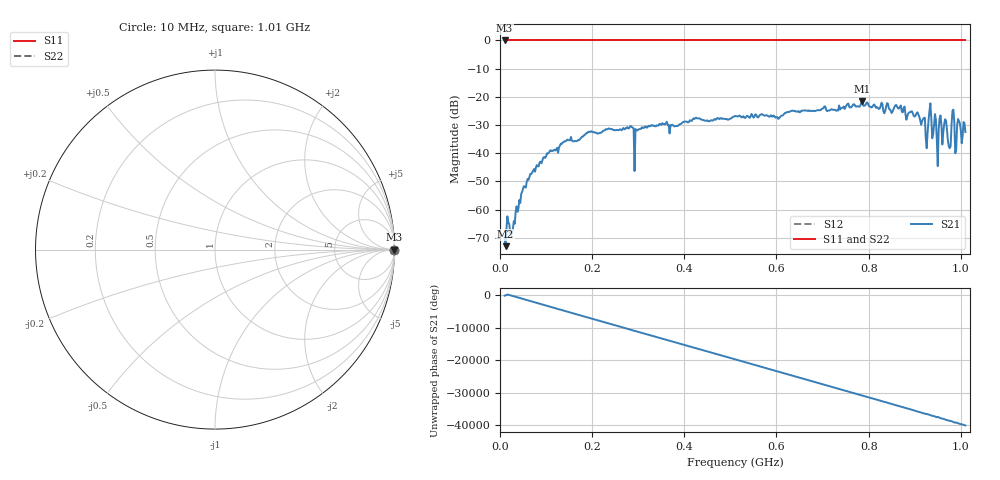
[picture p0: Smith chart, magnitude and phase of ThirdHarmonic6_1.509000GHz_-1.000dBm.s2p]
! 8/16/2025 5:46:02 PM
! C:\ANRITSUVNA\TEMP\TEMP.S2P
! CHANNEL.1
! TR.MEASUREMENT
! RAW.DATA
! RF.CORRECTION.OFF
! AVERAGING.OFF
! IF.BANDWIDTH: 5KHZ
! SWEEPTYPE:  FREQ.SWEEP(Linear)
! Reference Plane Port Info
! PORT:  PORT1  PORT2
! DISTANCE:  0  m  0  m
! TIME:  0  s  0  s
! PHASE.OFFSET:  0  deg.  0  deg.
! LOSS:  0  dB  0  dB
! REF.LOSS:  0  dB  0  dB
! REF.FREQ:  0  Hz  0  Hz
! Power Info
! POWER:  -20  dBm  -20  dBm
! EFF.POWER:  -20  dBm  -20  dBm
! SOURCE.ATTEN:  0  dB  0  dB
! TEST.ATTEN:  0  dB  0  dB
# GHZ S RI R 50.0
! FREQ.GHZ  S11RE  S11IM  S21RE  S21IM  S12RE  S12IM  S22RE  S22IM
!; PortSelection: Port_12
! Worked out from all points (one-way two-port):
!   501 points, 10 MHz to 1.01 GHz, reference 50 ohm
!   highest |S21| = -21.51 dB at 786 MHz (marker M1); lowest = -73.0 dB at 12 MHz (marker M2)
!   lowest |S11| = 0.0 dB at 10 MHz (marker M3)
!   |S11| at or under -10 dB: nowhere
!   |S22| runs from 0.0 to 0.0 dB; largest |S21 - S12| = 1.1
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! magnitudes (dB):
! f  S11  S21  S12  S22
! 10 MHz  0.0  -69.5  0.0  0.0
! 12 MHz  0.0  -73.0  0.0  0.0
! 28 MHz  0.0  -66.8  0.0  0.0
! 50 MHz  0.0  -52.6  0.0  0.0
! 70 MHz  0.0  -46.8  0.0  0.0
! 178 MHz  0.0  -34.1  0.0  0.0
! 284 MHz  0.0  -30.3  0.0  0.0
! 296 MHz  0.0  -31.8  0.0  0.0
! 344 MHz  0.0  -30.1  0.0  0.0
! 510 MHz  0.0  -26.8  0.0  0.0
! 678 MHz  0.0  -25.1  0.0  0.0
! 786 MHz  0.0  -21.5  0.0  0.0
! 844 MHz  0.0  -24.2  0.0  0.0
! 906 MHz  0.0  -25.5  0.0  0.0
! 926 MHz  0.0  -38.3  0.0  0.0
! 932 MHz  0.0  -25.1  0.0  0.0
! 950 MHz  0.0  -44.6  0.0  0.0
! 966 MHz  0.0  -28.0  0.0  0.0
! 974 MHz  0.0  -37.6  0.0  0.0
! 982 MHz  0.0  -24.9  0.0  0.0
! 990 MHz  0.0  -38.7  0.0  0.0
! 1.01 GHz  0.0  -32.5  0.0  0.0
